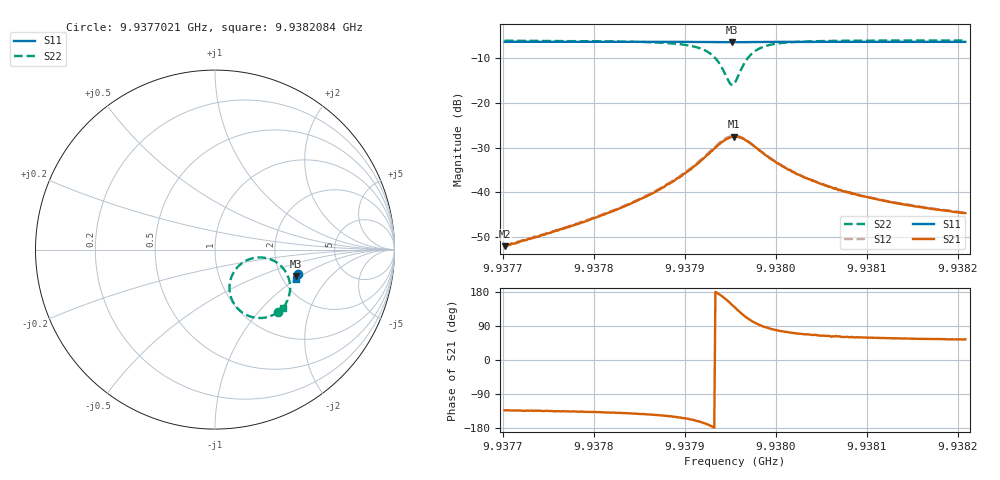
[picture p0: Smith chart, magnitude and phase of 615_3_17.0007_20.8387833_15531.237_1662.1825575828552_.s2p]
#  HZ  S  RI  R  50.00
! Rohde & Schwarz Vector Network Analyzer
! Rohde-Schwarz,ZNB20-2Port,1311601062101988,3.16
! Created: UTC 3/20/2024, 11:19:42 PM
! freq[Hz]  re:S11  im:S11  re:S21  im:S21  re:S12  im:S12  re:S22  im:S22
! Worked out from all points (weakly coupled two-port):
!   401 points, 9.9377021 GHz to 9.9382084 GHz, reference 50 ohm
!   highest |S21| = -27.53 dB at 9.937954 GHz (marker M1); lowest = -52.0 dB at 9.9377021 GHz (marker M2)
!   lowest |S11| = -6.5 dB at 9.9379515 GHz (marker M3), VSWR 2.82, Z = 120 - j46.1 ohm
!   |S11| at or under -10 dB: nowhere
!   |S22| runs from -16.0 to -6.1 dB; largest |S21 - S12| = 0.0021
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9.93770208e9  0.4627 -0.1347  -0.00169 -0.00184  -0.00176 -0.00186  0.3518 -0.3472
9.93778689e9  0.4605 -0.1404  -0.00332 -0.0032  -0.0034 -0.0032  0.3327 -0.3593
9.93783753e9  0.4591 -0.1442  -0.00559 -0.0046  -0.00575 -0.00458  0.3101 -0.3702
9.93787171e9  0.4577 -0.1464  -0.00881 -0.006  -0.0091 -0.00602  0.2805 -0.3785
9.93790463e9  0.456 -0.1489  -0.0159 -0.00726  -0.0165 -0.00706  0.2195 -0.3788
9.93792361e9  0.4546 -0.1501  -0.025 -0.0051  -0.0257 -0.00468  0.1495 -0.3486
9.93793627e9  0.4531 -0.1503  -0.0332 0.00224  -0.0341 0.00312  0.0936 -0.2773
9.93794387e9  0.4522 -0.1498  -0.0366 0.0112  -0.0372 0.0128  0.0809 -0.1996
9.93794893e9  0.4519 -0.1492  -0.0362 0.0186  -0.0363 0.0207  0.0973 -0.1391
9.93795147e9  0.452 -0.1488  -0.0347 0.0229  -0.0348 0.0245  0.1148 -0.1105
9.937954e9  0.4522 -0.1486  -0.0328 0.0263  -0.0324 0.0282  0.1383 -0.0853
9.93795526e9  0.4523 -0.1485  -0.0314 0.0277  -0.0309 0.0298  0.1515 -0.0746
9.93796159e9  0.453 -0.1479  -0.0231 0.0335  -0.022 0.0351  0.2271 -0.0448
9.93796919e9  0.4539 -0.148  -0.0125 0.0348  -0.0115 0.0355  0.3104 -0.0547
9.93797552e9  0.4545 -0.1484  -0.00591 0.0327  -0.0049 0.0331  0.3577 -0.0824
9.93798185e9  0.455 -0.1492  -0.00142 0.0294  -0.000523 0.0297  0.387 -0.1141
9.93799451e9  0.4552 -0.1506  0.00343 0.0237  0.00384 0.0236  0.413 -0.1685
9.93801223e9  0.4554 -0.1523  0.00519 0.0176  0.00555 0.0175  0.4185 -0.2188
9.93804008e9  0.4547 -0.1547  0.00546 0.0122  0.0057 0.0124  0.4115 -0.2612
9.93807553e9  0.454 -0.1575  0.00497 0.0089  0.00516 0.00883  0.4007 -0.2888
9.9381249e9  0.4525 -0.1609  0.00418 0.00659  0.00436 0.0066  0.3893 -0.3085
9.93820845e9  0.4501 -0.1665  0.0034 0.00475  0.00357 0.00474  0.3762 -0.326
